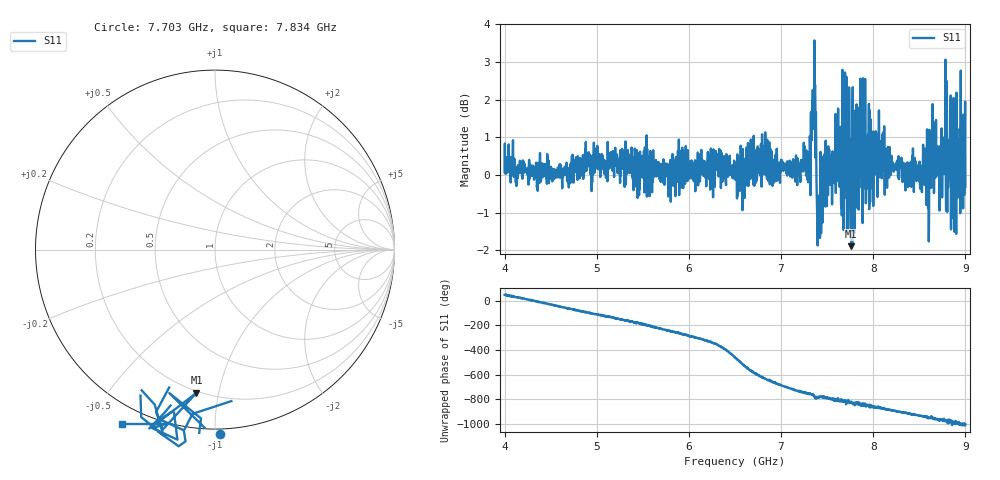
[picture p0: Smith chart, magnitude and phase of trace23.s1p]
! Created with skrf 1.8.0 (http://scikit-rf.org).
# Hz S RI R 50.0
!freq ReS11 ImS11
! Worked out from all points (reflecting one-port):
!   1601 points, 4 GHz to 9 GHz, reference 50 ohm
!   lowest |S11| = -1.9 dB at 7.762 GHz (marker M1), VSWR 9.24, Z = 9.51 - j43 ohm
!   phase of S11 starts at 48 deg and turns -1050 deg over the sweep
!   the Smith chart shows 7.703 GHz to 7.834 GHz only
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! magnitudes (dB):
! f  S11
! 4 GHz  0.1
! 4.625 GHz  -0.4
! 5.25 GHz  0.1
! 5.875 GHz  0.0
! 6.5 GHz  0.0
! 6.806 GHz  0.1
! 7.125 GHz  0.2
! 7.294 GHz  -0.2
! 7.347 GHz  1.8
! 7.362 GHz  3.6
! 7.397 GHz  -1.9
! 7.412 GHz  -0.5
! 7.453 GHz  0.0
! 7.638 GHz  0.4
! 7.688 GHz  2.0
! 7.703 GHz  0.2
! 7.75 GHz  0.7
! 7.762 GHz  -1.9
! 7.784 GHz  -0.7
! 7.869 GHz  1.1
! 8.375 GHz  -0.1
! 8.612 GHz  0.3
! 8.634 GHz  0.4
! 8.728 GHz  0.8
! 8.775 GHz  0.7
! 8.919 GHz  -0.5
! 8.972 GHz  1.0
! 9 GHz  -0.3
